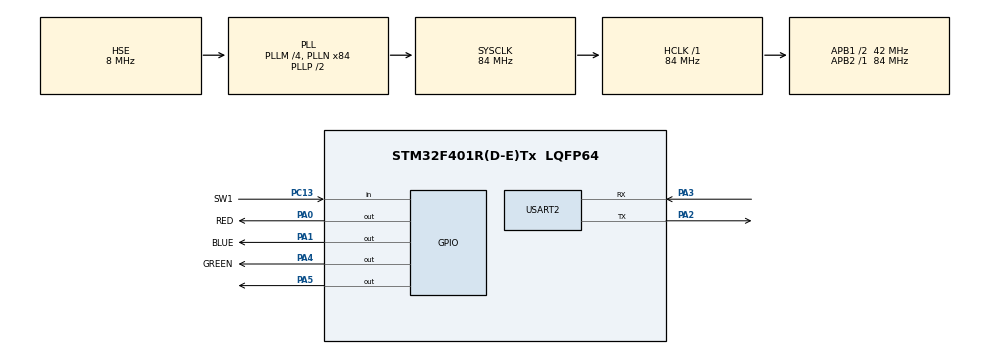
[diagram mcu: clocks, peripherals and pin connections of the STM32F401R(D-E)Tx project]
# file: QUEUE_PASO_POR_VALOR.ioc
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Mcu.Family=STM32F4
Mcu.Name=STM32F401R(D-E)Tx
Mcu.Package=LQFP64
NVIC.PriorityGroup=NVIC_PRIORITYGROUP_4
NVIC.TIM1_TRG_COM_TIM11_IRQn=true\:15\:0\:false\:false\:true\:false\:true\:true
NVIC.TimeBase=TIM1_TRG_COM_TIM11_IRQn
NVIC.TimeBaseIP=TIM11
NVIC.USART2_IRQn=true\:0\:0\:false\:false\:true\:true\:true\:true
PA0-WKUP.GPIO_Label=RED
PA0-WKUP.Signal=GPIO_Output
PA1.GPIO_Label=BLUE
PA1.Signal=GPIO_Output
PA2.Mode=Asynchronous
PA2.Signal=USART2_TX
PA3.Mode=Asynchronous
PA3.Signal=USART2_RX
PA4.GPIO_Label=GREEN
PA4.Signal=GPIO_Output
PA5.Signal=GPIO_Output
PC13-ANTI_TAMP.GPIO_Label=SW1
PC13-ANTI_TAMP.Signal=GPIO_Input
PH0\ -\ OSC_IN.Mode=HSE-External-Clock-Source
PH0\ -\ OSC_IN.Signal=RCC_OSC_IN
PH1\ -\ OSC_OUT.Mode=HSE-External-Clock-Source
PH1\ -\ OSC_OUT.Signal=RCC_OSC_OUT
ProjectManager.HeapSize=0x200
ProjectManager.StackSize=0x400
ProjectManager.TargetToolchain=STM32CubeIDE
RCC.48MHZClocksFreq_Value=42000000
RCC.AHBFreq_Value=84000000
RCC.APB1CLKDivider=RCC_HCLK_DIV2
RCC.APB1Freq_Value=42000000
RCC.APB1TimFreq_Value=84000000
RCC.APB2Freq_Value=84000000
RCC.APB2TimFreq_Value=84000000
RCC.CortexFreq_Value=84000000
RCC.HCLKFreq_Value=84000000
RCC.HSE_VALUE=8000000
RCC.HSI_VALUE=16000000
RCC.LSE_VALUE=32768
RCC.PLLM=4
RCC.PLLN=84
RCC.PLLSourceVirtual=RCC_PLLSOURCE_HSE
RCC.SYSCLKFreq_VALUE=84000000
RCC.SYSCLKSource=RCC_SYSCLKSOURCE_PLLCLK
RCC.VCOOutputFreq_Value=168000000
USART2.VirtualMode=VM_ASYNC
VP_SYS_VS_tim11.Mode=TIM11
board=custom

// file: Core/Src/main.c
/* USER CODE BEGIN Header */
/**
  ******************************************************************************
  * @file           : main.c
  * @brief          : Main program body
  ******************************************************************************
  * @attention
  *
  * Copyright (c) 2022 STMicroelectronics.
  * All rights reserved.
  *
  * This software is licensed under terms that can be found in the LICENSE file
  * in the root directory of this software component.
  * If no LICENSE file comes with this software, it is provided AS-IS.
  *
  ******************************************************************************
  */
/* USER CODE END Header */
#include "main.h"
#include "usart.h"
#include "gpio.h"

/* USER CODE BEGIN Includes */
#include "FreeRTOS.h"
#include "task.h"
#include "cmsis_os.h"
#include "queue.h"

#include <stdio.h>
#include <stdarg.h>
#include <string.h>
/* USER CODE END Includes */

/* USER CODE BEGIN PTD */
typedef struct{
	uint8_t ucMessageID;
	uint8_t redLedState: 1;
	uint8_t blueLedState: 1;
	uint8_t greenLedState: 1;
	uint32_t msDelay;
}LedState_t;
/* USER CODE END PTD */

/* USER CODE BEGIN PM */
/**
 * 0 : no se desea usar segger system view
 * 1 : se usa para la depuracion
 */
#define SYSTEM_VIEW				1
/* USER CODE END PM */

/* USER CODE BEGIN PV */
TaskHandle_t task1_handle;
osThreadId task3_handle;

QueueHandle_t xLedQueue;
/* USER CODE END PV */

void SystemClock_Config(void);
/* USER CODE BEGIN PFP */
void Task1(void *params);			//Envia informacion
void Task2(void *params);			//envia informacion
void Task3(const void *params);		//procesa informacion

osThreadDef(Tarea_3, Task3, 3, 0, configMINIMAL_STACK_SIZE);

void UART_Printf(char *format,...);
/* USER CODE END PFP */

int main(void)
{
  /* USER CODE BEGIN 1 */
	BaseType_t status;
  /* USER CODE END 1 */

  /* MCU Configuration--------------------------------------------------------*/

  /* Reset of all peripherals, Initializes the Flash interface and the Systick. */
  HAL_Init();

  /* Configure the system clock */
  SystemClock_Config();

  /* Initialize all configured peripherals */
  MX_GPIO_Init();
  MX_USART2_UART_Init();
  /* USER CODE BEGIN 2 */
#if SYSTEM_VIEW
//  NVIC_SetPriorityGrouping(0);
  DWT->CTRL |= 1;
  SEGGER_SYSVIEW_Conf();
  /*solo se va usar cuando se trabaje en modo one shot*/
//  SEGGER_SYSVIEW_Start();

#endif

  status = xTaskCreate(Task1,
		  	  	  	  "tarea 1",
					  configMINIMAL_STACK_SIZE,
					  "hola mundo\r\n",
					  3,
					  &task1_handle);
  configASSERT(status == pdPASS);

  status = xTaskCreate(Task2,
		  	  	  	  "tarea 2",
					  configMINIMAL_STACK_SIZE,
					  NULL,
					  3,
					  NULL);
  configASSERT(status == pdPASS);

  task3_handle = osThreadCreate(osThread(Tarea_3), NULL);

  xLedQueue = xQueueCreate(10, sizeof(LedState_t));
  /* inicializa el kernel*/
  osKernelStart();
  /* USER CODE END 2 */

  /* Infinite loop */
  while (1)
  {

  }
}

void SystemClock_Config(void)
{
  RCC_OscInitTypeDef RCC_OscInitStruct = {0};
  RCC_ClkInitTypeDef RCC_ClkInitStruct = {0};

  /** Configure the main internal regulator output voltage
  */
  __HAL_RCC_PWR_CLK_ENABLE();
  __HAL_PWR_VOLTAGESCALING_CONFIG(PWR_REGULATOR_VOLTAGE_SCALE2);

  /** Initializes the RCC Oscillators according to the specified parameters
  * in the RCC_OscInitTypeDef structure.
  */
  RCC_OscInitStruct.OscillatorType = RCC_OSCILLATORTYPE_HSE;
  RCC_OscInitStruct.HSEState = RCC_HSE_BYPASS;
  RCC_OscInitStruct.PLL.PLLState = RCC_PLL_ON;
  RCC_OscInitStruct.PLL.PLLSource = RCC_PLLSOURCE_HSE;
  RCC_OscInitStruct.PLL.PLLM = 4;
  RCC_OscInitStruct.PLL.PLLN = 84;
  RCC_OscInitStruct.PLL.PLLP = RCC_PLLP_DIV2;
  RCC_OscInitStruct.PLL.PLLQ = 4;
  if (HAL_RCC_OscConfig(&RCC_OscInitStruct) != HAL_OK)
  {
    Error_Handler();
  }

  /** Initializes the CPU, AHB and APB buses clocks
  */
  RCC_ClkInitStruct.ClockType = RCC_CLOCKTYPE_HCLK|RCC_CLOCKTYPE_SYSCLK
                              |RCC_CLOCKTYPE_PCLK1|RCC_CLOCKTYPE_PCLK2;
  RCC_ClkInitStruct.SYSCLKSource = RCC_SYSCLKSOURCE_PLLCLK;
  RCC_ClkInitStruct.AHBCLKDivider = RCC_SYSCLK_DIV1;
  RCC_ClkInitStruct.APB1CLKDivider = RCC_HCLK_DIV2;
  RCC_ClkInitStruct.APB2CLKDivider = RCC_HCLK_DIV1;

  if (HAL_RCC_ClockConfig(&RCC_ClkInitStruct, FLASH_LATENCY_2) != HAL_OK)
  {
    Error_Handler();
  }
}

/* USER CODE BEGIN 4 */
void Task1(void *params){

	/*inicializacion*/
	LedState_t dataTask1;

	dataTask1.ucMessageID = 1;

	dataTask1.redLedState = 0;
	dataTask1.blueLedState = 1;
	dataTask1.greenLedState = 0;
	dataTask1.msDelay = 100;

	/*loop*/
	while(1){
		if(xQueueSend(xLedQueue, (void*)&dataTask1, portMAX_DELAY) == pdTRUE){
			//envio correcto
			SEGGER_SYSVIEW_PrintfHost("comando enviando desde la tarea 1\r\n");

		}
		vTaskDelay(100);
	}
	/*Elimina la tarea*/
	vTaskDelete(NULL);
}
void Task2(void *params){

	LedState_t dataTask2;

	dataTask2.ucMessageID = 2;

	dataTask2.redLedState = 1;
	dataTask2.blueLedState = 0;
	dataTask2.greenLedState = 1;
	dataTask2.msDelay = 200;

	for(;;){
		if(xQueueSend(xLedQueue, (void*)&dataTask2, portMAX_DELAY) == pdTRUE){
			//envio correcto
			SEGGER_SYSVIEW_PrintfHost("comando enviando desde la tarea 2\r\n");

		}
		vTaskDelay(500);
	}
	/*Elimina la tarea*/
	vTaskDelete(NULL);
}

void Task3(const void *params){

	LedState_t data;

	while(1){
		if(xQueueReceive(xLedQueue, (void*)&data, 1000)){
			//dato se ha recibico correctamente
			SEGGER_SYSVIEW_PrintfHost("data recibido de la tarea %d\r\n",data.ucMessageID);

			if(data.ucMessageID == 1){		//dato recibido desde la tarea 1
				HAL_GPIO_WritePin(RED_GPIO_Port, RED_Pin, data.redLedState);
				HAL_GPIO_WritePin(BLUE_GPIO_Port, BLUE_Pin, data.blueLedState);
				HAL_GPIO_WritePin(GREEN_GPIO_Port, GREEN_Pin, data.greenLedState);
				vTaskDelay(pdMS_TO_TICKS(data.msDelay));
			}
			else if(data.ucMessageID == 2){	//dato recibido desde la tarea 2
				HAL_GPIO_WritePin(RED_GPIO_Port, RED_Pin, data.redLedState);
				HAL_GPIO_WritePin(BLUE_GPIO_Port, BLUE_Pin, data.blueLedState);
				HAL_GPIO_WritePin(GREEN_GPIO_Port, GREEN_Pin, data.greenLedState);
				vTaskDelay(pdMS_TO_TICKS(data.msDelay));
			}
		}
	}
	vTaskDelete(NULL);
}
void UART_Printf(char *format,...){
    char str[80];

    /*Extract the the argument list using VA apis */
    va_list args;
    va_start(args, format);
    vsprintf(str, format,args);
    HAL_UART_Transmit(&huart2, (uint8_t*)str, strlen(str), 10);
    va_end(args);
}
/* USER CODE END 4 */

void HAL_TIM_PeriodElapsedCallback(TIM_HandleTypeDef *htim)
{
  if (htim->Instance == TIM11) {
    HAL_IncTick();
  }
}

void Error_Handler(void)
{
  __disable_irq();
  while (1)
  {
  }
}
